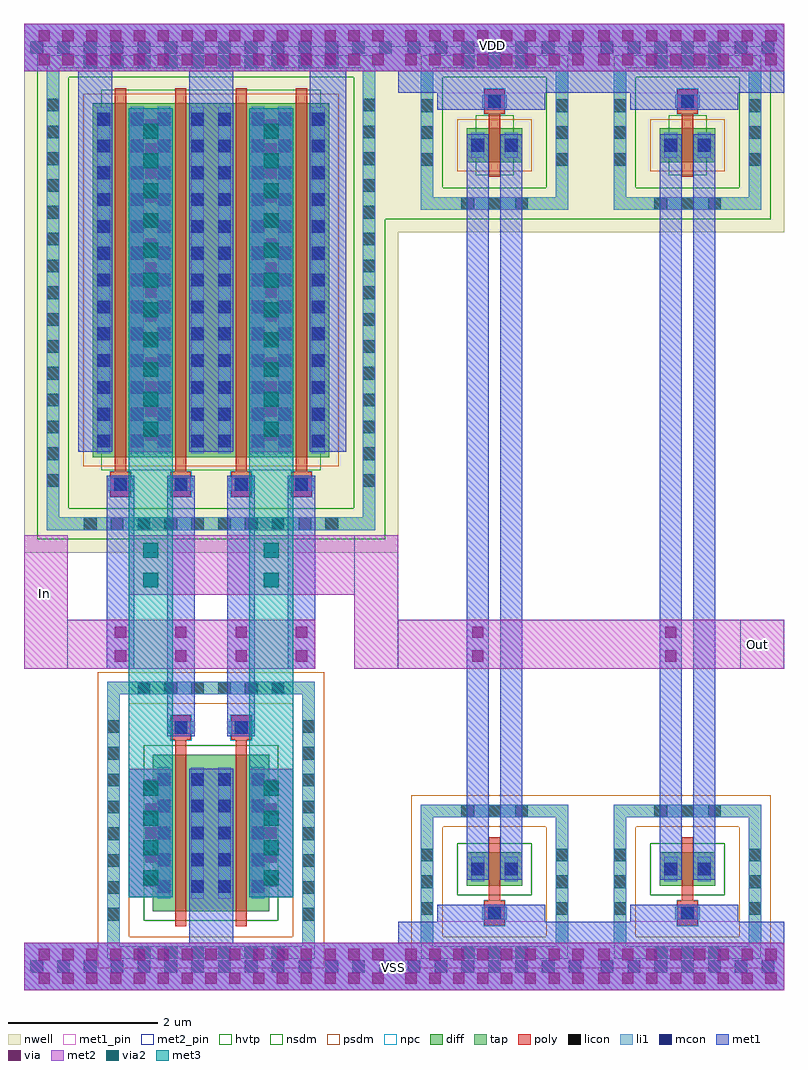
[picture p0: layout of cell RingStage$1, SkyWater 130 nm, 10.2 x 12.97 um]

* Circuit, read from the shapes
.subckt RingStage$1 In Out VDD VSS
XM1 VSS In Out VSS sky130_fd_pr__nfet_01v8 w=2.1 l=0.15 m=2
XM2 n1 VSS Out VSS sky130_fd_pr__nfet_01v8 w=0.45 l=0.15
XM3 n2 VSS Out VSS sky130_fd_pr__nfet_01v8 w=0.45 l=0.15
XM4 Out In VDD VDD sky130_fd_pr__pfet_01v8_hvt w=4.75 l=0.15 m=4
XM5 n1 VDD Out VDD sky130_fd_pr__pfet_01v8_hvt w=0.45 l=0.15
XM6 n2 VDD Out VDD sky130_fd_pr__pfet_01v8_hvt w=0.45 l=0.15
.ends

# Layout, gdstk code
from math import pi, radians
import gdstk
lib = gdstk.Library(unit=1e-6, precision=1e-09)
def R(c, l, rs):  # rectangles x0, y0, x1, y1
    for r in rs: c.add(gdstk.rectangle(r[:2], r[2:], *l))
def A(c, l, x, y, w, h, nx, ny, dx, dy):  # array of equal rectangles
    R(c, l, [(x+i*dx, y+j*dy, x+i*dx+w, y+j*dy+h) for i in range(nx) for j in range(ny)])
def P(c, l, *ps):  # polygons
    for p in ps: c.add(gdstk.Polygon(p, *l))
nwell = (64, 20)
diff = (65, 20)
tap = (65, 44)
poly = (66, 20)
licon = (66, 44)
li1 = (67, 20)
mcon = (67, 44)
met1_pin = (68, 16)
met1 = (68, 20)
via = (68, 44)
met2_pin = (69, 16)
met2 = (69, 20)
via2 = (69, 44)
met3 = (70, 20)
hvtp = (78, 44)
nsdm = (93, 44)
psdm = (94, 20)
npc = (95, 20)

vias_gen_6 = lib.new_cell('vias_gen$6')
R(vias_gen_6, met2, [(0,0,0.59,0.8)])
R(vias_gen_6, via2, [(0.195,0.1,0.395,0.3), (0.195,0.5,0.395,0.7)])
R(vias_gen_6, met3, [(0,0,0.59,0.8)])

vias_gen_72 = lib.new_cell('vias_gen$72')
R(vias_gen_72, li1, [(0,0,5.02,0.64)])
A(vias_gen_72, mcon, 0.085, 0.235, 0.17, 0.17, 14, 1, 0.36, 0)
R(vias_gen_72, met1, [(0,0,5.02,0.64)])
A(vias_gen_72, via, 0.195, 0.085, 0.15, 0.15, 15, 2, 0.32, 0.32)
R(vias_gen_72, met2, [(0,0,5.02,0.64)])

nfet_2 = lib.new_cell('nfet$2')
R(nfet_2, diff, [(0,0,0.75,2.1)])
R(nfet_2, poly, [(0.3,-0.2,0.45,2.3), (0.24,2.3,0.51,2.63)])
A(nfet_2, licon, 0.065, 0.245, 0.17, 0.17, 1, 5, 0, 0.36)
A(nfet_2, licon, 0.515, 0.245, 0.17, 0.17, 1, 5, 0, 0.36)
R(nfet_2, licon, [(0.29,2.38,0.46,2.55)])
R(nfet_2, li1, [(0.065,0.165,0.235,1.935), (0.515,0.165,0.685,1.935), (0.21,2.38,0.54,2.55)])
A(nfet_2, mcon, 0.065, 0.245, 0.17, 0.17, 1, 5, 0, 0.36)
A(nfet_2, mcon, 0.515, 0.245, 0.17, 0.17, 1, 5, 0, 0.36)
R(nfet_2, mcon, [(0.29,2.38,0.46,2.55)])
R(nfet_2, met1, [(0.035,0.185,0.265,1.915), (0.485,0.185,0.715,1.915), (0.19,2.35,0.56,2.58)])
R(nfet_2, nsdm, [(-0.125,-0.125,0.875,2.225)])
R(nfet_2, npc, [(0.23,2.29,0.52,2.64)])

vias_gen_73 = lib.new_cell('vias_gen$73')
R(vias_gen_73, met1, [(0,0,1.73,0.59)])
A(vias_gen_73, via, 0.15, 0.22, 0.15, 0.15, 5, 1, 0.32, 0)
R(vias_gen_73, met2, [(0,0,1.73,0.59)])
A(vias_gen_73, via2, 0.165, 0.195, 0.2, 0.2, 4, 1, 0.4, 0)
R(vias_gen_73, met3, [(0,0,1.73,0.59)])

vias_gen_74 = lib.new_cell('vias_gen$74')
R(vias_gen_74, met1, [(0,0,0.37,0.66)])
R(vias_gen_74, via, [(0.11,0.095,0.26,0.245), (0.11,0.415,0.26,0.565)])
R(vias_gen_74, met2, [(0,0,0.37,0.66)])

vias_gen_75 = lib.new_cell('vias_gen$75')
R(vias_gen_75, met1, [(0,0,4.61,0.59)])
A(vias_gen_75, via, 0.15, 0.22, 0.15, 0.15, 14, 1, 0.32, 0)
R(vias_gen_75, met2, [(0,0,4.61,0.59)])
A(vias_gen_75, via2, 0.205, 0.195, 0.2, 0.2, 11, 1, 0.4, 0)
R(vias_gen_75, met3, [(0,0,4.61,0.59)])

pfet_2 = lib.new_cell('pfet$2')
R(pfet_2, nwell, [(-0.305,-0.72,1.055,5.13)])
R(pfet_2, diff, [(0,0,0.75,4.75)])
R(pfet_2, poly, [(0.24,-0.53,0.51,-0.2), (0.3,-0.2,0.45,4.95)])
A(pfet_2, licon, 0.065, 0.13, 0.17, 0.17, 1, 13, 0, 0.36)
A(pfet_2, licon, 0.515, 0.13, 0.17, 0.17, 1, 13, 0, 0.36)
R(pfet_2, licon, [(0.29,-0.45,0.46,-0.28)])
R(pfet_2, li1, [(0.21,-0.45,0.54,-0.28), (0.065,0.05,0.235,4.7), (0.515,0.05,0.685,4.7)])
A(pfet_2, mcon, 0.065, 0.13, 0.17, 0.17, 1, 13, 0, 0.36)
A(pfet_2, mcon, 0.515, 0.13, 0.17, 0.17, 1, 13, 0, 0.36)
R(pfet_2, mcon, [(0.29,-0.45,0.46,-0.28)])
R(pfet_2, met1, [(0.19,-0.48,0.56,-0.25), (0.035,0.07,0.265,4.68), (0.485,0.07,0.715,4.68)])
R(pfet_2, hvtp, [(0.12,-0.18,0.63,4.93)])
R(pfet_2, psdm, [(-0.125,-0.125,0.875,4.875)])
R(pfet_2, npc, [(0.23,-0.54,0.52,-0.19)])

nfet_6 = lib.new_cell('nfet$6')
R(nfet_6, diff, [(0,0,0.75,0.45)])
P(nfet_6, tap, [(-0.615,-0.98),(-0.615,0.92),(-0.445,0.92),(-0.445,-0.81),(1.195,-0.81),(1.195,0.92),(-0.615,0.92),(-0.615,1.09),(1.365,1.09),(1.365,-0.98)])
R(nfet_6, poly, [(0.24,-0.53,0.51,-0.2), (0.3,-0.2,0.45,0.65)])
A(nfet_6, licon, -0.07, -0.98, 0.17, 0.17, 3, 2, 0.36, 1.9)
A(nfet_6, licon, -0.615, -0.39, 0.17, 0.17, 1, 3, 0, 0.36)
A(nfet_6, licon, 1.195, -0.39, 0.17, 0.17, 1, 3, 0, 0.36)
R(nfet_6, licon, [(0.29,-0.45,0.46,-0.28), (0.065,0.14,0.235,0.31), (0.515,0.14,0.685,0.31)])
R(nfet_6, li1, [(0.21,-0.45,0.54,-0.28), (0.065,0.06,0.235,0.39), (0.515,0.06,0.685,0.39)])
P(nfet_6, li1, [(-0.615,-0.98),(-0.615,0.92),(-0.445,0.92),(-0.445,-0.81),(1.195,-0.81),(1.195,0.92),(-0.615,0.92),(-0.615,1.09),(1.365,1.09),(1.365,-0.98)])
R(nfet_6, mcon, [(0.29,-0.45,0.46,-0.28), (0.065,0.14,0.235,0.31), (0.515,0.14,0.685,0.31)])
R(nfet_6, met1, [(0.19,-0.48,0.56,-0.25), (0.005,0.08,0.295,0.37), (0.455,0.08,0.745,0.37)])
R(nfet_6, nsdm, [(-0.125,-0.125,0.875,0.575)])
P(nfet_6, psdm, [(-0.74,-1.105),(-0.74,0.795),(-0.32,0.795),(-0.32,-0.685),(1.07,-0.685),(1.07,0.795),(-0.74,0.795),(-0.74,1.215),(1.49,1.215),(1.49,-1.105)])
R(nfet_6, npc, [(0.23,-0.54,0.52,-0.19)])

vias_gen_76 = lib.new_cell('vias_gen$76')
R(vias_gen_76, li1, [(0,0,2.59,0.64)])
A(vias_gen_76, mcon, 0.13, 0.235, 0.17, 0.17, 7, 1, 0.36, 0)
R(vias_gen_76, met1, [(0,0,2.59,0.64)])
A(vias_gen_76, via, 0.1, 0.085, 0.15, 0.15, 8, 2, 0.32, 0.32)
R(vias_gen_76, met2, [(0,0,2.59,0.64)])

pfet_9 = lib.new_cell('pfet$9')
R(pfet_9, nwell, [(-0.92,-0.945,1.67,1.735)])
R(pfet_9, diff, [(0,0,0.75,0.45)])
P(pfet_9, tap, [(-0.615,-0.64),(-0.615,1.26),(-0.445,1.26),(-0.445,-0.47),(1.195,-0.47),(1.195,1.26),(-0.615,1.26),(-0.615,1.43),(1.365,1.43),(1.365,-0.64)])
R(pfet_9, poly, [(0.3,-0.2,0.45,0.65), (0.24,0.65,0.51,0.98)])
A(pfet_9, licon, -0.07, -0.64, 0.17, 0.17, 3, 2, 0.36, 1.9)
A(pfet_9, licon, -0.615, -0.05, 0.17, 0.17, 1, 3, 0, 0.36)
A(pfet_9, licon, 1.195, -0.05, 0.17, 0.17, 1, 3, 0, 0.36)
R(pfet_9, licon, [(0.065,0.14,0.235,0.31), (0.515,0.14,0.685,0.31), (0.29,0.73,0.46,0.9)])
R(pfet_9, li1, [(0.065,0.06,0.235,0.39), (0.515,0.06,0.685,0.39), (0.21,0.73,0.54,0.9)])
P(pfet_9, li1, [(-0.615,-0.64),(-0.615,1.26),(-0.445,1.26),(-0.445,-0.47),(1.195,-0.47),(1.195,1.26),(-0.615,1.26),(-0.615,1.43),(1.365,1.43),(1.365,-0.64)])
R(pfet_9, mcon, [(0.065,0.14,0.235,0.31), (0.515,0.14,0.685,0.31), (0.29,0.73,0.46,0.9)])
R(pfet_9, met1, [(0.005,0.08,0.295,0.37), (0.455,0.08,0.745,0.37), (0.19,0.7,0.56,0.93)])
R(pfet_9, hvtp, [(0.12,-0.18,0.63,0.63)])
P(pfet_9, nsdm, [(-0.74,-0.765),(-0.74,1.135),(-0.32,1.135),(-0.32,-0.345),(1.07,-0.345),(1.07,1.135),(-0.74,1.135),(-0.74,1.555),(1.49,1.555),(1.49,-0.765)])
R(pfet_9, psdm, [(-0.125,-0.125,0.875,0.575)])
R(pfet_9, npc, [(0.23,0.64,0.52,0.99)])

ringstage_1 = lib.new_cell('RingStage$1')
R(ringstage_1, nwell, [(-2.08,4.955,2.46,11.935), (2.46,4.955,2.94,11.935)])
A(ringstage_1, diff, -0.41, 6.24, 0.155, 4.75, 3, 1, 0.81, 0)
R(ringstage_1, diff, [(0.4,0.145,0.46,2.245)])
R(ringstage_1, tap, [(-0.965,-0.495,-0.795,3.225), (-0.795,-0.495,1.655,-0.325), (1.655,-0.495,1.825,3.225), (-0.795,3.055,1.655,3.225), (-1.775,5.26,2.465,5.43), (-1.775,5.26,-1.605,11.46), (-1.605,5.26,1.985,5.43), (2.465,5.26,2.635,11.46), (-1.775,11.46,2.635,11.63)])
A(ringstage_1, licon, -0.555, -0.495, 0.17, 0.17, 6, 2, 0.36, 3.55)
A(ringstage_1, licon, -0.965, 0.02, 0.17, 0.17, 1, 8, 0, 0.36)
A(ringstage_1, licon, 1.655, 0.02, 0.17, 0.17, 1, 8, 0, 0.36)
A(ringstage_1, licon, -1.275, 5.26, 0.17, 0.17, 10, 2, 0.36, 6.2)
A(ringstage_1, licon, -1.775, 5.84, 0.17, 0.17, 1, 15, 0, 0.36)
A(ringstage_1, licon, 2.465, 5.84, 0.17, 0.17, 1, 15, 0, 0.36)
R(ringstage_1, li1, [(-0.965,-0.495,-0.795,3.225), (-0.795,-0.495,1.655,-0.325), (1.655,-0.495,1.825,3.225), (-0.795,3.055,1.655,3.225), (-1.775,5.26,2.465,5.43), (-1.775,5.26,-1.605,11.46), (2.465,5.26,2.635,11.46), (-1.775,11.46,2.635,11.63)])
R(ringstage_1, met1_pin, [(3.465,0.005,4.915,0.235), (6.055,0.005,7.505,0.235), (3.465,10.9,4.915,11.13), (6.055,10.9,7.505,11.13)])
A(ringstage_1, met1, -0.97, 4.06, 0.37, 1.7, 4, 1, 0.81, 0)
A(ringstage_1, met1, -0.445, 6.31, 0.13, 4.61, 3, 1, 0.81, 0)
R(ringstage_1, met1, [(0.135,-0.275,0.725,0.33), (2.94,-0.275,8.12,0.005), (3.465,0.005,4.915,0.235), (6.055,0.005,7.505,0.235), (0.365,0.33,0.495,2.06), (3.865,0.855,4.155,10.28), (4.315,0.855,4.605,10.28), (6.455,0.855,6.745,10.28), (6.905,0.855,7.195,10.28), (-0.16,2.725,0.21,3.73), (0.65,2.725,1.02,3.73), (3.865,3.4,4.155,4.06), (6.455,3.4,6.745,4.06), (-1.355,6.31,-0.895,11.415), (1.755,6.31,2.245,11.415), (3.465,10.9,4.915,11.13), (6.055,10.9,7.505,11.13), (0.135,10.92,0.725,11.415), (2.94,11.13,8.12,11.415)])
R(ringstage_1, via, [(3.935,3.495,4.085,3.645), (6.525,3.495,6.675,3.645), (3.935,3.815,4.085,3.965), (6.525,3.815,6.675,3.965)])
R(ringstage_1, met2_pin, [(-2.08,-0.915,8.12,-0.275), (-2.08,-0.915,2.94,-0.275), (2.94,-0.915,5.53,-0.275), (5.53,-0.915,8.12,-0.275), (-2.08,3.4,-1.49,5.19), (-2.08,3.4,-1.49,5.19), (2.35,3.4,2.94,5.19), (7.53,3.4,8.12,4.06), (-2.08,11.415,8.12,12.055), (-2.08,11.415,2.94,12.055), (2.94,11.415,5.53,12.055), (5.53,11.415,8.12,12.055)])
R(ringstage_1, met2, [(-2.08,-0.915,2.94,-0.275), (-2.08,3.4,1.83,4.06), (2.35,3.4,2.94,4.39), (2.94,3.4,8.12,4.06), (3.865,3.4,4.155,4.06), (6.455,3.4,6.745,4.06), (-2.08,4.06,-1.49,5.19), (-0.675,4.39,2.94,5.19), (-2.08,11.415,2.94,12.055)])
R(ringstage_1, met3, [(-0.675,2.06,-0.085,4.39), (0.945,2.06,1.535,4.39), (-0.675,5.19,-0.085,6.31), (0.945,5.19,1.535,6.31)])
A(ringstage_1, hvtp, -0.53, 6.06, 0.3, 5.11, 3, 1, 0.81, 0)
R(ringstage_1, nsdm, [(-1.9,5.135,2.765,5.555), (-1.9,5.555,-1.48,11.335), (2.345,5.555,2.765,11.335), (2.765,9.435,3.12,11.755), (5.35,9.435,5.71,11.755), (-1.9,11.335,2.765,11.755)])
R(ringstage_1, psdm, [(-1.09,-0.62,-0.67,3.35), (-0.67,-0.62,1.53,-0.2), (1.53,-0.62,1.95,3.35), (5.35,-0.62,5.71,1.7), (-0.67,2.93,1.53,3.35)])
ringstage_1.add(gdstk.Reference(vias_gen_6, (-0.675,4.39)))
ringstage_1.add(gdstk.Reference(vias_gen_6, (0.945,4.39)))
ringstage_1.add(gdstk.Reference(vias_gen_72, (-2.08,-0.915)))
ringstage_1.add(gdstk.Reference(nfet_2, (0.4,0.145), rotation=pi, x_reflection=True))
ringstage_1.add(gdstk.Reference(nfet_2, (1.21,0.145), rotation=pi, x_reflection=True))
ringstage_1.add(gdstk.Reference(vias_gen_73, (-0.085,0.33), rotation=pi/2))
ringstage_1.add(gdstk.Reference(vias_gen_73, (1.535,0.33), rotation=pi/2))
ringstage_1.add(gdstk.Reference(vias_gen_74, (-0.97,3.4)))
ringstage_1.add(gdstk.Reference(vias_gen_74, (0.65,3.4)))
ringstage_1.add(gdstk.Reference(vias_gen_74, (1.46,3.4)))
ringstage_1.add(gdstk.Reference(vias_gen_74, (-0.16,3.4)))
ringstage_1.add(gdstk.Reference(vias_gen_75, (1.535,6.31), rotation=pi/2))
ringstage_1.add(gdstk.Reference(vias_gen_72, (-2.08,11.415)))
ringstage_1.add(gdstk.Reference(vias_gen_75, (-0.085,6.31), rotation=pi/2))
ringstage_1.add(gdstk.Reference(pfet_2, (2.02,6.24), rotation=pi, x_reflection=True))
ringstage_1.add(gdstk.Reference(pfet_2, (1.21,6.24), rotation=pi, x_reflection=True))
ringstage_1.add(gdstk.Reference(pfet_2, (0.4,6.24), rotation=pi, x_reflection=True))
ringstage_1.add(gdstk.Reference(pfet_2, (-0.41,6.24), rotation=pi, x_reflection=True))
ringstage_1.add(gdstk.Reference(nfet_6, (3.86,0.485)))
ringstage_1.add(gdstk.Reference(vias_gen_76, (2.94,-0.915)))
ringstage_1.add(gdstk.Reference(vias_gen_76, (2.94,11.415)))
ringstage_1.add(gdstk.Reference(pfet_9, (3.86,10.2)))
ringstage_1.add(gdstk.Reference(nfet_6, (6.45,0.485)))
ringstage_1.add(gdstk.Reference(vias_gen_76, (5.53,-0.915)))
ringstage_1.add(gdstk.Reference(vias_gen_76, (5.53,11.415)))
ringstage_1.add(gdstk.Reference(pfet_9, (6.45,10.2)))
ringstage_1.add(gdstk.Label('In', (-1.8,4.415), layer=69, texttype=5))
ringstage_1.add(gdstk.Label('VDD', (4.205,11.76), layer=69, texttype=5))
ringstage_1.add(gdstk.Label('Out', (7.77,3.73), layer=69, texttype=5))
ringstage_1.add(gdstk.Label('VSS', (2.875,-0.605), layer=69, texttype=5))
ringstage_1.add(gdstk.Label('In', (-1.765,4.54), layer=69, texttype=5))

lib.write_gds('RingStage_1.gds')
